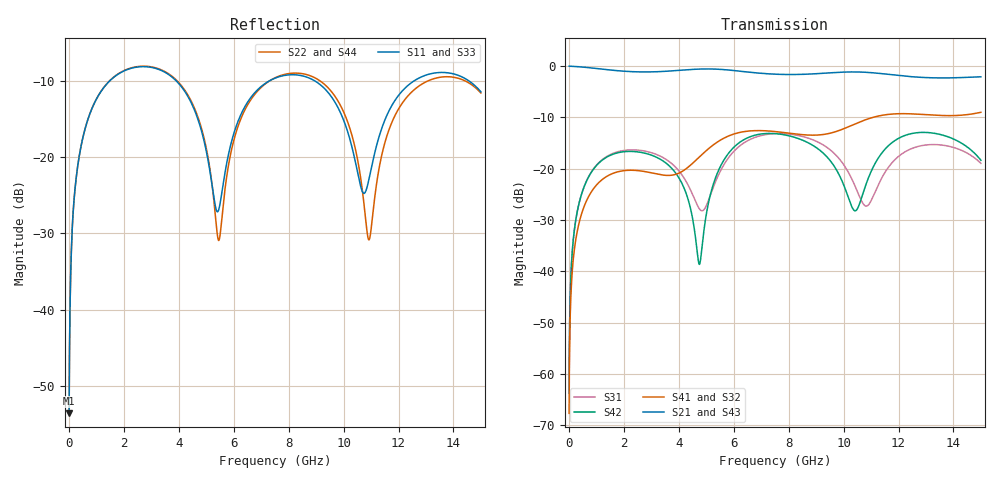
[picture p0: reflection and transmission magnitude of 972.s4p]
! Created with skrf 1.8.0 (http://scikit-rf.org).
# GHz S RI R 50.0
!freq ReS11 ImS11 ReS12 ImS12 ReS13 ImS13
! ReS14 ImS14
! ReS21 ImS21 ReS22 ImS22 ReS23 ImS23
! ReS24 ImS24
! ReS31 ImS31 ReS32 ImS32 ReS33 ImS33
! ReS34 ImS34
! ReS41 ImS41 ReS42 ImS42 ReS43 ImS43
! ReS44 ImS44
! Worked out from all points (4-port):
!   2499 points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, 5 MHz to 15 GHz, reference 50 ohm
!   strongest paths, dB at 5 MHz, 3.476 GHz, 7.19 GHz, 11.1 GHz, 15 GHz:
!     S21: 0.0, -1.0, -1.5, -1.3, -2.1
!     S43: 0.0, -1.0, -1.5, -1.3, -2.1
!     S41: -67.7, -21.3, -12.6, -10.0, -9.0
!     S32: -67.7, -21.3, -12.7, -9.9, -9.0
!     S42: -63.8, -18.7, -13.1, -19.5, -18.4
!     S31: -63.8, -18.0, -13.3, -25.1, -19.0
!   lowest |S11| = -53.6 dB at 5 MHz (marker M1), VSWR 1.00, Z = 50.2 + j0.126 ohm
!   |S11| at or under -10 dB: start of sweep to 1.47 GHz; 3.921 GHz to 7.272 GHz (3.351 GHz wide, 59.9 % of centre); 8.975 GHz to 12.54 GHz (3.57 GHz wide, 33.2 % of centre) (the widest 3 of 4)
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0.005  0.00165 0.00126  0.9983 -0.00322  8.27e-05 0.000641  -8.03e-05 -0.000404
       0.9983 -0.00322  0.00165 0.00126  -8.03e-05 -0.000404  8.25e-05 0.000641
       8.27e-05 0.000641  -8.03e-05 -0.000404  0.00165 0.00126  0.9983 -0.00322
       -8.03e-05 -0.000404  8.25e-05 0.000641  0.9983 -0.00322  0.00165 0.00126
0.3126303  0.0243 0.0828  0.9667 -0.2003  0.0113 0.0379  -0.00916 -0.0237
           0.9667 -0.2003  0.0245 0.0828  -0.00915 -0.0237  0.0107 0.0381
           0.0113 0.0379  -0.00915 -0.0237  0.0243 0.0828  0.9667 -0.2003
           -0.00916 -0.0237  0.0107 0.0381  0.9667 -0.2003  0.0245 0.0828
1.519383  0.2662 0.1821  0.5569 -0.7258  0.1265 0.055  -0.0878 -0.00764
          0.5569 -0.7258  0.2689 0.1804  -0.0877 -0.00773  0.1189 0.0652
          0.1265 0.055  -0.0877 -0.00773  0.2663 0.1821  0.5569 -0.7258
          -0.0878 -0.00764  0.1189 0.0652  0.5569 -0.7258  0.2688 0.1804
5.258441  0.0448 -0.0357  -0.924 -0.1513  -0.0326 0.0575  -0.0251 0.1688
          -0.924 -0.1513  0.0298 -0.0471  -0.0266 0.1686  0.0138 0.0694
          -0.0326 0.0575  -0.0266 0.1686  0.0445 -0.0353  -0.924 -0.1511
          -0.0251 0.1688  0.0138 0.0694  -0.924 -0.1511  0.03 -0.0467
8.466028  0.3407 -0.0498  0.0209 0.8303  0.1763 -0.1088  0.1974 -0.0851
          0.0209 0.8303  0.351 -0.0574  0.197 -0.0815  0.181 -0.0623
          0.1763 -0.1088  0.197 -0.0815  0.3429 -0.0532  0.021 0.8296
          0.1974 -0.0851  0.181 -0.0623  0.021 0.8296  0.3521 -0.0545
10.9233  0.0618 0.0364  0.8599 0.1065  -0.0325 0.031  0.024 -0.3069
         0.8599 0.1065  0.0287 -0.00144  0.0315 -0.3066  0.0641 0.0539
         -0.0325 0.031  0.0315 -0.3066  0.0539 0.0343  0.8599 0.1067
         0.024 -0.3069  0.0641 0.0539  0.8599 0.1067  0.0364 -0.00245
15  0.2311 -0.1389  -0.3948 -0.6801  -0.00522 -0.1126  -0.2883 0.206
    -0.3948 -0.6801  0.232 -0.1277  -0.2941 0.1966  0.00185 -0.1208
    -0.00522 -0.1126  -0.2941 0.1966  0.2314 -0.1425  -0.3946 -0.6793
    -0.2883 0.206  0.00185 -0.1208  -0.3946 -0.6793  0.2355 -0.1264
